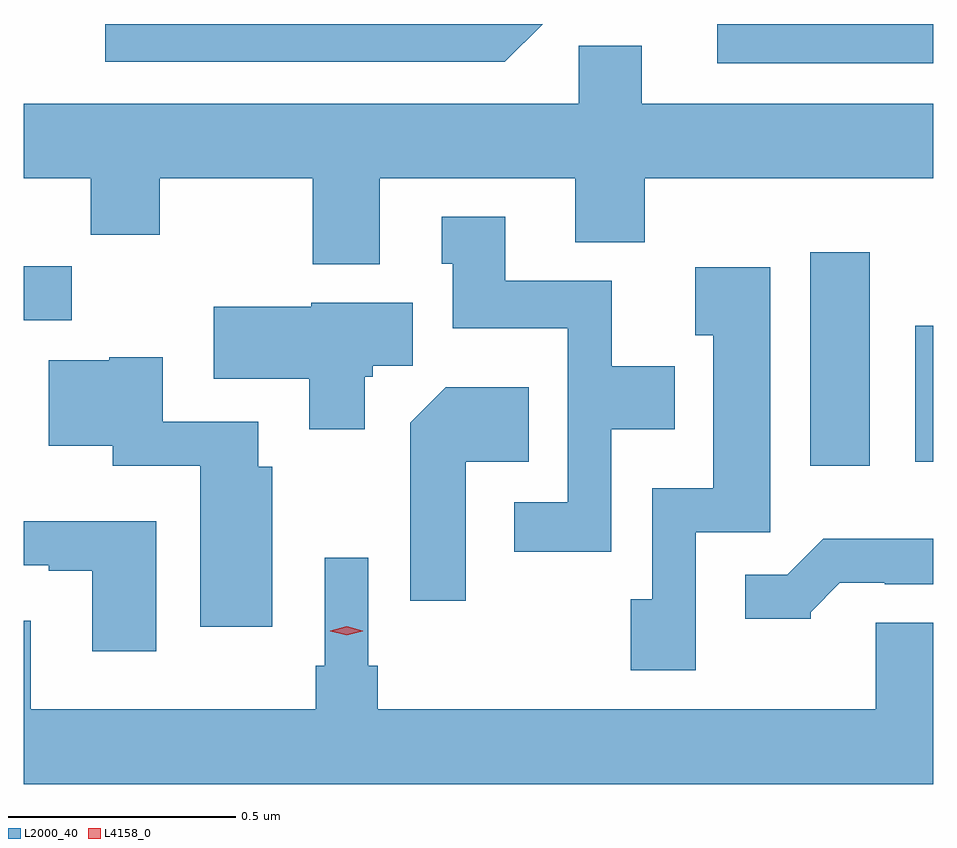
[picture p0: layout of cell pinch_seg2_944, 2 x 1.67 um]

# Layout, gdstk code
import gdstk
lib = gdstk.Library(unit=1e-6, precision=1e-09)
def R(c, l, rs):  # rectangles x0, y0, x1, y1
    for r in rs: c.add(gdstk.rectangle(r[:2], r[2:], *l))
def P(c, l, *ps):  # polygons
    for p in ps: c.add(gdstk.Polygon(p, *l))
L2000_40 = (2000, 40)
L4158_0 = (4158, 0)

pinch_seg2_944 = lib.new_cell('pinch_seg2_944')
R(pinch_seg2_944, L2000_40, [(516.557,637.68,516.688,638.149), (516.788,637.688,516.828,637.987), (514.828,638,514.934,638.118), (516.353,638.565,516.828,638.651)])
P(pinch_seg2_944, L2000_40, [(515.969,638.651),(515.007,638.651),(515.007,638.568),(515.886,638.568)],
  [(515.611,638.312),(516.041,638.312),(516.041,638.171),(516.194,638.171),(516.194,638.312),(516.828,638.312),(516.828,638.476),(516.187,638.476),(516.187,638.603),(516.048,638.603),(516.048,638.476),(514.828,638.476),(514.828,638.312),(514.975,638.312),(514.975,638.188),(515.127,638.188),(515.127,638.312),(515.464,638.312),(515.464,638.123),(515.611,638.123)],
  [(516.12,637.76),(516.259,637.76),(516.259,637.899),(516.121,637.899),(516.121,638.086),(515.887,638.086),(515.887,638.227),(515.747,638.227),(515.747,638.124),(515.771,638.124),(515.771,637.982),(516.024,637.982),(516.024,637.599),(515.907,637.599),(515.907,637.491),(516.12,637.491)],
  [(516.306,637.533),(516.469,637.533),(516.469,638.116),(516.305,638.116),(516.305,637.967),(516.344,637.967),(516.344,637.63),(516.21,637.63),(516.21,637.386),(516.163,637.386),(516.163,637.23),(516.306,637.23)],
  [(515.578,637.875),(515.595,637.875),(515.595,637.9),(515.683,637.9),(515.683,638.038),(515.46,638.038),(515.46,638.029),(515.246,638.029),(515.246,637.871),(515.456,637.871),(515.456,637.76),(515.578,637.76)],
  [(515.374,637.678),(515.344,637.678),(515.344,637.776),(515.134,637.776),(515.134,637.918),(515.016,637.918),(515.016,637.912),(514.883,637.912),(514.883,637.724),(515.024,637.724),(515.024,637.68),(515.216,637.68),(515.216,637.326),(515.374,637.326)],
  [(515.8,637.688),(515.939,637.688),(515.939,637.852),(515.756,637.852),(515.678,637.774),(515.678,637.383),(515.8,637.383)],
  [(515.119,637.558),(514.828,637.558),(514.828,637.461),(514.883,637.461),(514.883,637.449),(514.979,637.449),(514.979,637.272),(515.119,637.272)],
  [(516.558,637.358),(516.622,637.422),(516.721,637.422),(516.721,637.419),(516.828,637.419),(516.828,637.519),(516.586,637.519),(516.507,637.44),(516.414,637.44),(516.414,637.343),(516.558,637.343)],
  [(516.828,637.334),(516.701,637.334),(516.701,637.144),(515.606,637.144),(515.606,637.24),(515.586,637.24),(515.586,637.477),(515.49,637.477),(515.49,637.24),(515.47,637.24),(515.47,637.144),(514.843,637.144),(514.843,637.339),(514.828,637.339),(514.828,636.98),(516.828,636.98)])
P(pinch_seg2_944, L4158_0, [(515.538,637.307),(515.502,637.316),(515.502,637.317),(515.502,637.317),(515.538,637.327),(515.573,637.317),(515.573,637.317),(515.573,637.316)])

lib.write_gds('pinch_seg2_944.gds')
